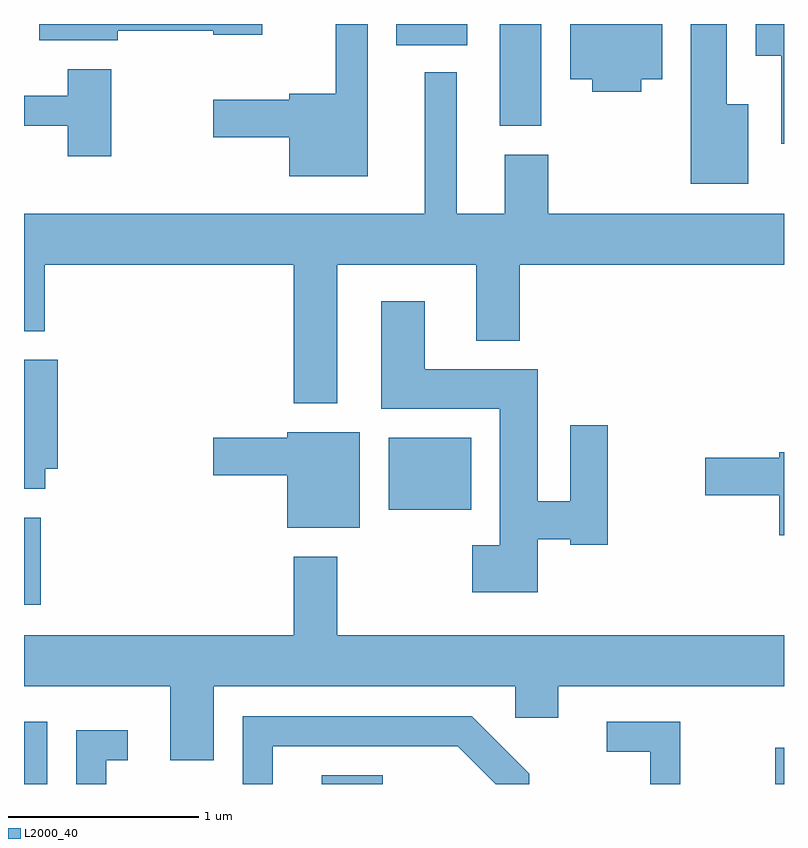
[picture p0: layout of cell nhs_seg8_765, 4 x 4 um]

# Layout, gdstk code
import gdstk
lib = gdstk.Library(unit=1e-6, precision=1e-09)
def R(c, l, rs):  # rectangles x0, y0, x1, y1
    for r in rs: c.add(gdstk.rectangle(r[:2], r[2:], *l))
def P(c, l, *ps):  # polygons
    for p in ps: c.add(gdstk.Polygon(p, *l))
L2000_40 = (2000, 40)

nhs_seg8_765 = lib.new_cell('nhs_seg8_765')
R(nhs_seg8_765, L2000_40, [(207.611,1840.342,207.734,1840.669), (209.178,1840.342,209.499,1840.389), (211.566,1840.342,211.611,1840.534), (207.611,1841.286,207.699,1841.744), (209.531,1841.786,209.964,1842.164), (210.116,1843.806,210.334,1844.342), (209.571,1844.231,209.944,1844.342)])
P(nhs_seg8_765, L2000_40, [(208.104,1844.306),(208.606,1844.306),(208.606,1844.286),(208.864,1844.286),(208.864,1844.342),(207.691,1844.342),(207.691,1844.256),(208.104,1844.256)],
  [(209.419,1844.342),(209.251,1844.342),(209.251,1843.974),(209.006,1843.974),(209.006,1843.944),(208.606,1843.944),(208.606,1843.746),(209.006,1843.746),(209.006,1843.541),(209.419,1843.541)],
  [(211.611,1844.342),(211.461,1844.342),(211.461,1844.176),(211.596,1844.176),(211.596,1843.711),(211.611,1843.711)],
  [(211.424,1843.919),(211.309,1843.919),(211.309,1844.342),(211.121,1844.342),(211.121,1843.501),(211.424,1843.501)],
  [(210.859,1844.051),(210.969,1844.051),(210.969,1844.342),(210.486,1844.342),(210.486,1844.051),(210.601,1844.051),(210.601,1843.986),(210.859,1843.986)],
  [(208.069,1844.104),(207.841,1844.104),(207.841,1843.964),(207.611,1843.964),(207.611,1843.806),(207.841,1843.806),(207.841,1843.646),(208.069,1843.646)],
  [(207.611,1842.726),(207.719,1842.726),(207.719,1843.076),(209.031,1843.076),(209.031,1842.346),(209.259,1842.346),(209.259,1843.076),(209.991,1843.076),(209.991,1842.676),(210.219,1842.676),(210.219,1843.076),(211.611,1843.076),(211.611,1843.344),(210.369,1843.344),(210.369,1843.654),(210.141,1843.654),(210.141,1843.344),(209.889,1843.344),(209.889,1844.088),(209.721,1844.088),(209.721,1843.344),(207.611,1843.344)],
  [(210.314,1841.631),(210.486,1841.631),(210.486,1841.601),(210.684,1841.601),(210.684,1842.229),(210.486,1842.229),(210.486,1841.829),(210.314,1841.829),(210.314,1842.524),(209.719,1842.524),(209.719,1842.884),(209.491,1842.884),(209.491,1842.316),(210.116,1842.316),(210.116,1841.599),(209.971,1841.599),(209.971,1841.351),(210.314,1841.351)],
  [(207.724,1842.001),(207.789,1842.001),(207.789,1842.574),(207.611,1842.574),(207.611,1841.896),(207.724,1841.896)],
  [(209.379,1842.194),(208.996,1842.194),(208.996,1842.164),(208.606,1842.164),(208.606,1841.966),(208.996,1841.966),(208.996,1841.691),(209.379,1841.691)],
  [(211.611,1842.089),(211.586,1842.089),(211.586,1842.059),(211.196,1842.059),(211.196,1841.861),(211.586,1841.861),(211.586,1841.651),(211.611,1841.651)],
  [(208.609,1840.856),(210.196,1840.856),(210.196,1840.691),(210.424,1840.691),(210.424,1840.856),(211.611,1840.856),(211.611,1841.124),(209.259,1841.124),(209.259,1841.539),(209.031,1841.539),(209.031,1841.124),(207.611,1841.124),(207.611,1840.856),(208.381,1840.856),(208.381,1840.466),(208.609,1840.466)],
  [(208.919,1840.541),(209.894,1840.541),(210.093,1840.342),(210.269,1840.342),(210.269,1840.397),(209.967,1840.699),(208.761,1840.699),(208.761,1840.342),(208.919,1840.342)],
  [(211.064,1840.669),(210.678,1840.669),(210.678,1840.511),(210.906,1840.511),(210.906,1840.342),(211.064,1840.342)],
  [(208.044,1840.466),(208.158,1840.466),(208.158,1840.624),(207.886,1840.624),(207.886,1840.342),(208.044,1840.342)])

lib.write_gds('nhs_seg8_765.gds')
